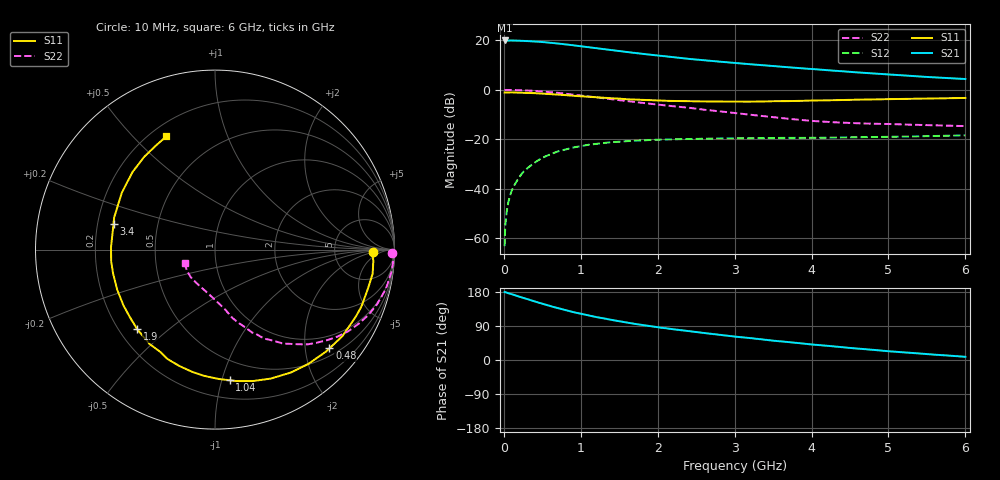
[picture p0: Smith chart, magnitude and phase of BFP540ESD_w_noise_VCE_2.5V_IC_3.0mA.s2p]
! Infineon Technologies  Discrete & RF Semiconductors
! BFP540ESD
! VCE =  2.5 V,  IC =  3.0 mA
! Common Emitter S-Parameters:  Nov 2015
# GHz  S  MA  R  50
!  f  S11  S21  S12  S22
! GHz  MAG  ANG  MAG  ANG  MAG  ANG  MAG  ANG
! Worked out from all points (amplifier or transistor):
!   210 points, 10 MHz to 6 GHz, reference 50 ohm
!   highest |S21| = 19.9 dB at 10 MHz (marker M1)
!   |S21| within 3 dB of that: start of sweep to 1.168 GHz
!   unconditionally stable (mu >= 1): 3.762 GHz to end of sweep
!   at 185 MHz: K = 0.03, MSG = 27.9 dB, |S12| = -36.0 dB
!   at 1.52 GHz: K = 0.34, MSG = 18.2 dB, |S12| = -20.9 dB
!   at 6 GHz: K = 1.31, MAG = 8.0 dB, |S12| = -18.4 dB
!   lowest NFmin = 0.63 dB at 900 MHz
!   S11 on the Smith chart (normalised r, x): 10 MHz: 16, -2; 480 MHz: 0.67, -2.53; 1.04 GHz: 0.34, -1.06; 1.9 GHz: 0.27, -0.39; 3.4 GHz: 0.27, +0.12; 6 GHz: 0.26, +0.63
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0.01  0.8821 -0.7  9.926 179.2  0.0007 78.9  0.9858 -1.2
0.02  0.8792 -2.0  9.807 179.0  0.0019 100.0  0.9955 -1.0
0.03  0.8808 -2.7  9.829 178.3  0.0028 95.9  0.9956 -1.5
0.1  0.8885 -8.7  9.907 173.8  0.0091 87.7  0.9941 -4.7
0.3  0.8684 -25.6  9.668 160.9  0.0256 77.3  0.9719 -14.0
0.48  0.8423 -40.8  9.286 149.7  0.0407 70.3  0.9329 -22.3
0.6  0.8223 -50.8  8.926 142.3  0.0498 65.3  0.9006 -27.3
0.8  0.7831 -66.6  8.296 131.6  0.0628 57.5  0.8368 -35.4
0.9  0.7622 -73.9  7.939 126.5  0.0684 54.0  0.8036 -38.9
1.02  0.7371 -82.2  7.517 121.2  0.0742 49.8  0.7641 -42.9
1.04  0.7324 -83.6  7.451 120.3  0.0751 49.1  0.7574 -43.6
1.2  0.7062 -94.9  6.924 113.4  0.0809 44.5  0.7068 -48.3
1.5  0.6644 -113.5  6.063 102.1  0.0897 36.8  0.6197 -56.0
1.7  0.6399 -124.7  5.578 95.4  0.0943 32.4  0.5686 -60.9
1.9  0.6204 -134.3  5.135 89.6  0.0976 29.1  0.5235 -64.0
2.02  0.6068 -140.8  4.902 85.8  0.0988 27.3  0.5011 -66.2
2.58  0.5838 -165.1  3.978 71.6  0.1031 20.4  0.4009 -75.0
3.1  0.5777 175.6  3.388 59.9  0.1052 16.4  0.3273 -81.8
3.4  0.5837 165.6  3.106 53.4  0.1067 14.3  0.2915 -87.6
4.1  0.6107 146.2  2.562 39.4  0.1079 11.1  0.2306 -106.1
5.1  0.6527 125.7  2 21.7  0.1128 8.9  0.2021 -133.8
6  0.6867 113.2  1.653 8.4  0.1208 8.7  0.186 -155.7
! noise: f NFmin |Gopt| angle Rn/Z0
0.9  0.63  0.27  45  0.15
1.8  0.89  0.21  92  0.13
2.4  0.92  0.26  109  0.1
3  1.12  0.29  144  0.09
4  1.37  0.29  -141  0.15
5  1.69  0.42  -108  0.35
6  1.9  0.55  -106  0.52
